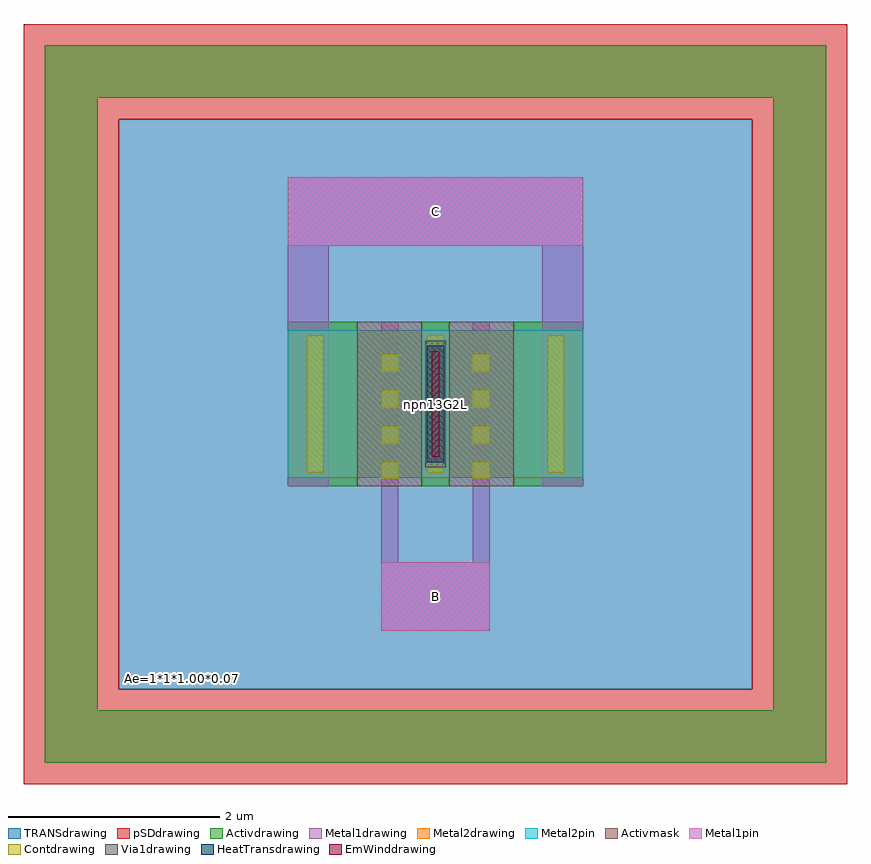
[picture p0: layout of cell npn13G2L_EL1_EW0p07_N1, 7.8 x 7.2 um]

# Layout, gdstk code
import gdstk
lib = gdstk.Library(unit=1e-6, precision=1e-09)
def R(c, l, rs):  # rectangles x0, y0, x1, y1
    for r in rs: c.add(gdstk.rectangle(r[:2], r[2:], *l))
def P(c, l, *ps):  # polygons
    for p in ps: c.add(gdstk.Polygon(p, *l))
Activdrawing = (1, 0)
Activmask = (1, 20)
Contdrawing = (6, 0)
Metal1drawing = (8, 0)
Metal1pin = (8, 2)
Metal2drawing = (10, 0)
Metal2pin = (10, 2)
pSDdrawing = (14, 0)
Via1drawing = (19, 0)
TRANSdrawing = (26, 0)
EmWinddrawing = (33, 0)
HeatTransdrawing = (51, 0)

rectangle_gdsfactorypcom = lib.new_cell('rectangle_gdsfactorypcomponentspshapesprectangle_S0p07__22f8efe0')
R(rectangle_gdsfactorypcom, EmWinddrawing, [(0,0,0.07,1)])

c_rectangle_gdsfactorypcom = lib.new_cell('rectangle_gdsfactorypcomponentspshapesprectangle_S0p17__d8567825')
R(c_rectangle_gdsfactorypcom, HeatTransdrawing, [(0,0,0.17,1.1)])

c_rectangle_gdsfactorypcom_ = lib.new_cell('rectangle_gdsfactorypcomponentspshapesprectangle_S0p19__a97d2b67')
R(c_rectangle_gdsfactorypcom_, Via1drawing, [(0,0,0.19,1.2)])

c_rectangle_gdsfactorypcom__ = lib.new_cell('rectangle_gdsfactorypcomponentspshapesprectangle_S0p61__3fa70da6')
R(c_rectangle_gdsfactorypcom__, Activmask, [(0,0,0.61,1.56)])

unnamed_646 = lib.new_cell('Unnamed_646')
R(unnamed_646, Activmask, [(3.16,2.82,3.77,4.38), (4.03,2.82,4.64,4.38)])

unnamed_647 = lib.new_cell('Unnamed_647')
R(unnamed_647, Activdrawing, [(2.5,2.82,3.16,4.38), (3.77,2.82,4.03,4.38), (4.64,2.82,5.3,4.38)])

c_rectangle_gdsfactorypcom___ = lib.new_cell('rectangle_gdsfactorypcomponentspshapesprectangle_S0p16__4e3604c4')
R(c_rectangle_gdsfactorypcom___, Contdrawing, [(0,0,0.16,1.3)])

c_rectangle_gdsfactorypcom____ = lib.new_cell('rectangle_gdsfactorypcomponentspshapesprectangle_S0p16__bf15bdcd')
R(c_rectangle_gdsfactorypcom____, Contdrawing, [(0,0,0.16,0.16)])

c_rectangle_gdsfactorypcom_____ = lib.new_cell('rectangle_gdsfactorypcomponentspshapesprectangle_S0p39__b7387acc')
R(c_rectangle_gdsfactorypcom_____, Metal1drawing, [(0,0,0.39,2.28)])

c_rectangle_gdsfactorypcom______ = lib.new_cell('rectangle_gdsfactorypcomponentspshapesprectangle_S2p8_0_5838c96c')
R(c_rectangle_gdsfactorypcom______, Metal1drawing, [(0,0,2.8,0.65)])

c_rectangle_gdsfactorypcom_______ = lib.new_cell('rectangle_gdsfactorypcomponentspshapesprectangle_S2p8_0_6e4d50a0')
R(c_rectangle_gdsfactorypcom_______, Metal1pin, [(0,0,2.8,0.65)])

c_rectangle_gdsfactorypcom________ = lib.new_cell('rectangle_gdsfactorypcomponentspshapesprectangle_S0p16__c736992b')
R(c_rectangle_gdsfactorypcom________, Metal1drawing, [(0,0,0.16,2.28)])

c_rectangle_gdsfactorypcom_________ = lib.new_cell('rectangle_gdsfactorypcomponentspshapesprectangle_S1p03__f95aa8fe')
R(c_rectangle_gdsfactorypcom_________, Metal1drawing, [(0,0,1.03,0.65)])

c_rectangle_gdsfactorypcom__________ = lib.new_cell('rectangle_gdsfactorypcomponentspshapesprectangle_S1p03__447e4238')
R(c_rectangle_gdsfactorypcom__________, Metal1pin, [(0,0,1.03,0.65)])

c_rectangle_gdsfactorypcom___________ = lib.new_cell('rectangle_gdsfactorypcomponentspshapesprectangle_S0p26__adb31e84')
R(c_rectangle_gdsfactorypcom___________, Metal1drawing, [(0,0,0.26,1.4)])

c_rectangle_gdsfactorypcom____________ = lib.new_cell('rectangle_gdsfactorypcomponentspshapesprectangle_S2p8_1_37e99f89')
R(c_rectangle_gdsfactorypcom____________, Metal2drawing, [(0,0,2.8,1.4)])

c_rectangle_gdsfactorypcom_____________ = lib.new_cell('rectangle_gdsfactorypcomponentspshapesprectangle_S2p8_1_97464d29')
R(c_rectangle_gdsfactorypcom_____________, Metal2pin, [(0,0,2.8,1.4)])

c_rectangle_gdsfactorypcom______________ = lib.new_cell('rectangle_gdsfactorypcomponentspshapesprectangle_S6_5p4_4c13944e')
R(c_rectangle_gdsfactorypcom______________, TRANSdrawing, [(0,0,6,5.4)])

unnamed_676 = lib.new_cell('Unnamed_676')
P(unnamed_676, pSDdrawing, [(0,0),(0,6.3),(0.9,6.3),(0.9,0.9),(6.9,0.9),(6.9,6.3),(0,6.3),(0,7.2),(7.8,7.2),(7.8,0)])

unnamed_681 = lib.new_cell('Unnamed_681')
P(unnamed_681, Activdrawing, [(0.2,0.2),(0.2,6.5),(0.7,6.5),(0.7,0.7),(7.1,0.7),(7.1,6.5),(0.2,6.5),(0.2,7),(7.6,7),(7.6,0.2)])

npn13g2l_el1_ew0p07_n1 = lib.new_cell('npn13G2L_EL1_EW0p07_N1')
npn13g2l_el1_ew0p07_n1.add(gdstk.Reference(rectangle_gdsfactorypcom, (3.865,3.1)))
npn13g2l_el1_ew0p07_n1.add(gdstk.Reference(c_rectangle_gdsfactorypcom, (3.815,3.05)))
npn13g2l_el1_ew0p07_n1.add(gdstk.Reference(c_rectangle_gdsfactorypcom_, (3.805,3)))
npn13g2l_el1_ew0p07_n1.add(gdstk.Reference(c_rectangle_gdsfactorypcom__, (3.16,2.82)))
npn13g2l_el1_ew0p07_n1.add(gdstk.Reference(c_rectangle_gdsfactorypcom__, (4.03,2.82)))
npn13g2l_el1_ew0p07_n1.add(gdstk.Reference(unnamed_646, (0,0)))
npn13g2l_el1_ew0p07_n1.add(gdstk.Reference(unnamed_647, (0,0)))
npn13g2l_el1_ew0p07_n1.add(gdstk.Reference(c_rectangle_gdsfactorypcom___, (2.68,2.95)))
npn13g2l_el1_ew0p07_n1.add(gdstk.Reference(c_rectangle_gdsfactorypcom___, (3.82,2.95)))
npn13g2l_el1_ew0p07_n1.add(gdstk.Reference(c_rectangle_gdsfactorypcom___, (4.96,2.95)))
npn13g2l_el1_ew0p07_n1.add(gdstk.Reference(c_rectangle_gdsfactorypcom____, (3.385,2.89)))
npn13g2l_el1_ew0p07_n1.add(gdstk.Reference(c_rectangle_gdsfactorypcom____, (4.255,2.89)))
npn13g2l_el1_ew0p07_n1.add(gdstk.Reference(c_rectangle_gdsfactorypcom____, (3.385,3.23)))
npn13g2l_el1_ew0p07_n1.add(gdstk.Reference(c_rectangle_gdsfactorypcom____, (4.255,3.23)))
npn13g2l_el1_ew0p07_n1.add(gdstk.Reference(c_rectangle_gdsfactorypcom____, (3.385,3.57)))
npn13g2l_el1_ew0p07_n1.add(gdstk.Reference(c_rectangle_gdsfactorypcom____, (4.255,3.57)))
npn13g2l_el1_ew0p07_n1.add(gdstk.Reference(c_rectangle_gdsfactorypcom____, (3.385,3.91)))
npn13g2l_el1_ew0p07_n1.add(gdstk.Reference(c_rectangle_gdsfactorypcom____, (4.255,3.91)))
npn13g2l_el1_ew0p07_n1.add(gdstk.Reference(c_rectangle_gdsfactorypcom_____, (2.5,2.82)))
npn13g2l_el1_ew0p07_n1.add(gdstk.Reference(c_rectangle_gdsfactorypcom_____, (4.91,2.82)))
npn13g2l_el1_ew0p07_n1.add(gdstk.Reference(c_rectangle_gdsfactorypcom______, (2.5,5.1)))
npn13g2l_el1_ew0p07_n1.add(gdstk.Reference(c_rectangle_gdsfactorypcom_______, (2.5,5.1)))
npn13g2l_el1_ew0p07_n1.add(gdstk.Reference(c_rectangle_gdsfactorypcom________, (3.385,2.1)))
npn13g2l_el1_ew0p07_n1.add(gdstk.Reference(c_rectangle_gdsfactorypcom________, (4.255,2.1)))
npn13g2l_el1_ew0p07_n1.add(gdstk.Reference(c_rectangle_gdsfactorypcom_________, (3.385,1.45)))
npn13g2l_el1_ew0p07_n1.add(gdstk.Reference(c_rectangle_gdsfactorypcom__________, (3.385,1.45)))
npn13g2l_el1_ew0p07_n1.add(gdstk.Reference(c_rectangle_gdsfactorypcom___________, (3.77,2.9)))
npn13g2l_el1_ew0p07_n1.add(gdstk.Reference(c_rectangle_gdsfactorypcom____________, (2.5,2.9)))
npn13g2l_el1_ew0p07_n1.add(gdstk.Reference(c_rectangle_gdsfactorypcom_____________, (2.5,2.9)))
npn13g2l_el1_ew0p07_n1.add(gdstk.Reference(c_rectangle_gdsfactorypcom______________, (0.9,0.9)))
npn13g2l_el1_ew0p07_n1.add(gdstk.Reference(unnamed_676, (0,0)))
npn13g2l_el1_ew0p07_n1.add(gdstk.Reference(unnamed_681, (0,0)))
npn13g2l_el1_ew0p07_n1.add(gdstk.Label('npn13G2L', (3.9,3.6), layer=51, texttype=0))
npn13g2l_el1_ew0p07_n1.add(gdstk.Label('Ae=1*1*1.00*0.07', (1.5,1), layer=63, texttype=0))
npn13g2l_el1_ew0p07_n1.add(gdstk.Label('npn13G2L', (1.75,1), layer=63, texttype=0))
npn13g2l_el1_ew0p07_n1.add(gdstk.Label('C', (3.9,5.425), layer=63, texttype=0))
npn13g2l_el1_ew0p07_n1.add(gdstk.Label('B', (3.9,1.775), layer=63, texttype=0))
npn13g2l_el1_ew0p07_n1.add(gdstk.Label('E', (3.9,3.6), layer=63, texttype=0))

lib.write_gds('npn13G2L_EL1_EW0p07_N1.gds')
